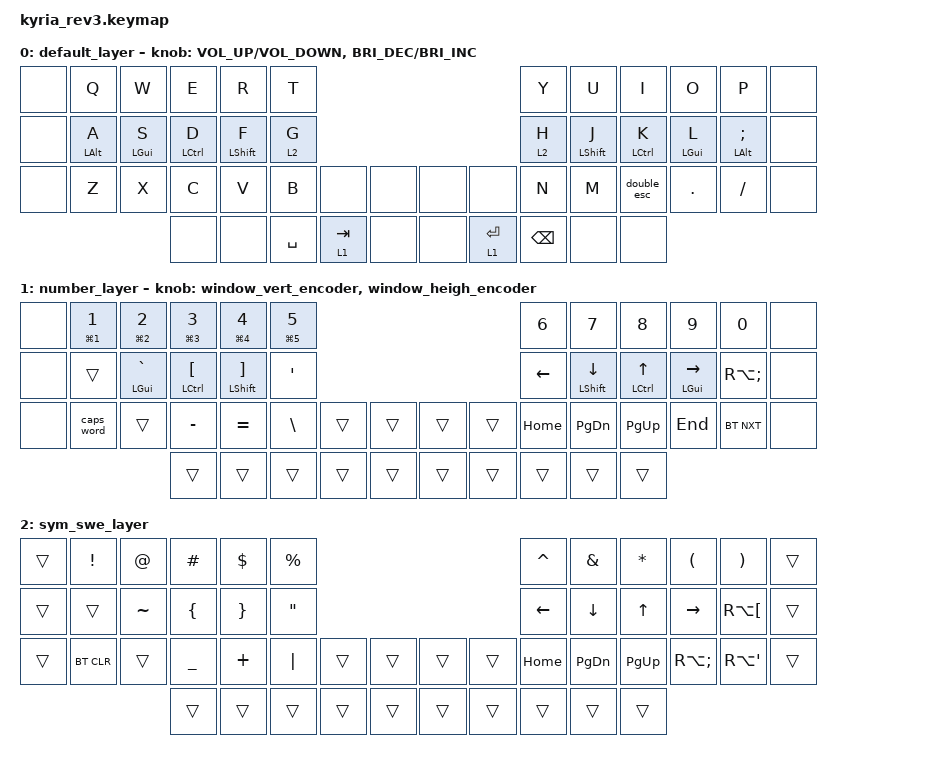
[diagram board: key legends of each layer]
/*
 * Copyright (c) 2023 The ZMK Contributors
 *
 * SPDX-License-Identifier: MIT
 */

#include <behaviors.dtsi>
#include <dt-bindings/zmk/bt.h>
#include <dt-bindings/zmk/keys.h>

/* Uncomment this block if using RGB
&led_strip {
    chain-length = <6>;
    // chain-length = <31>; // Uncomment if using both per-key and underglow LEDs
    // chain-length = <25>; // Uncomment if using only per-key LEDs.
};
 */

&mt {
    flavor = "balanced";
    quick-tap-ms = <200>;
};

/ {
    macros {
        quick_up: quick_up {
            compatible = "zmk,behavior-macro";
            #binding-cells = <0>;
            bindings = <&kp UP_ARROW &kp UP_ARROW &kp UP_ARROW>;
            label = "QUICK_UP";
        };

        quick_down: quick_down {
            compatible = "zmk,behavior-macro";
            #binding-cells = <0>;
            bindings = <&kp DOWN_ARROW &kp DOWN_ARROW &kp DOWN>;
            label = "QUICK_DOWN";
        };

        window_horizontal_small: window_horizontal_small {
            compatible = "zmk,behavior-macro";
            #binding-cells = <0>;
            bindings = <&kp LC(W) &kp PLUS>;
            label = "WINDOW_HORIZONTAL_SMALL";
        };

        window_horizontal_big: window_horizontal_big {
            compatible = "zmk,behavior-macro";
            #binding-cells = <0>;
            bindings = <&kp LC(W) &kp MINUS>;
            label = "WINDOW_HORIZONTAL_BIG";
        };

        window_vert_small: window_vert_small {
            compatible = "zmk,behavior-macro";
            #binding-cells = <0>;
            bindings = <&kp LC(W) &kp LESS_THAN>;
            label = "WINDOW_VERT_SMALL";
        };

        window_vert_big: window_vert_big {
            compatible = "zmk,behavior-macro";
            #binding-cells = <0>;
            bindings = <&kp LC(W) &kp GREATER_THAN>;
            label = "WINDOW_VERT_BIG";
        };
    };

    behaviors {
        slow_mt: slow_mt {
            compatible = "zmk,behavior-hold-tap";
            label = "SLOW_MT";
            bindings = <&kp>, <&kp>;

            #binding-cells = <2>;
            tapping-term-ms = <400>;
            flavor = "tap-preferred";
            quick-tap-ms = <200>;
        };

        window_heigh_encoder: window_heigh_encoder {
            compatible = "zmk,behavior-sensor-rotate";
            label = "WINDOW_HEIGH_ENCODER";
            #sensor-binding-cells = <0>;
            bindings = <&window_horizontal_big>, <&window_horizontal_small>;
        };

        window_vert_encoder: window_vert_encoder {
            compatible = "zmk,behavior-sensor-rotate";
            label = "WINDOW_VERT_ENCODER";
            #sensor-binding-cells = <0>;
            bindings = <&window_vert_big>, <&window_vert_small>;
        };

        double_esc: double_esc {
            compatible = "zmk,behavior-tap-dance";
            label = "DOUBLE_ESC";
            #binding-cells = <0>;
            bindings = <&kp COMMA>, <&kp ESCAPE>;
        };
    };

    combos {
        compatible = "zmk,combos";

        esc1 {
            bindings = <&kp ESCAPE>;
            key-positions = <43 42>;
        };

        esc2 {
            bindings = <&kp ESCAPE>;
            key-positions = <46 47>;
        };
    };

    keymap {
        compatible = "zmk,keymap";

        default_layer {
            // ---------------------------------------------------------------------------------------------------------------------------------
            // |  ESC  |  Q  |  W  |  E   |  R   |  T   |                                          |  Y   |  U    |  I    |  O   |   P   |   \  |
            // |  TAB  |  A  |  S  |  D   |  F   |  G   |                                          |  H   |  J    |  K    |  L   |   ;   |   '  |
            // | SHIFT |  Z  |  X  |  C   |  V   |  B   | L SHIFT | L SHIFT |  | LAYER 1 | L SHIFT |  N   |  M    |  ,    |  .   |   /   | CTRL |
            //                     | GUI  | DEL  | RET  |  SPACE  |   ESC   |  |   RET   |  SPACE  | TAB  | BSPC  | R-ALT |

            bindings = <
&none  &kp Q                &kp W           &kp E        &kp R             &kp T                                            &kp Y          &kp U             &kp I        &kp O           &kp P                        &none
&none  &slow_mt LEFT_ALT A  &mt LEFT_GUI S  &mt LCTRL D  &mt LEFT_SHIFT F  &lt 2 G                                          &lt 2 H        &mt LEFT_SHIFT J  &mt LCTRL K  &mt LEFT_GUI L  &slow_mt LEFT_ALT SEMICOLON  &none
&none  &kp Z                &kp X           &kp C        &kp V             &kp B      &none      &none  &none  &none        &kp N          &kp M             &double_esc  &kp DOT         &kp FSLH                     &none
                                            &none        &none             &kp SPACE  &lt 1 TAB  &none  &none  &lt 1 ENTER  &kp BACKSPACE  &none             &none
            >;

            sensor-bindings =
                <&inc_dec_kp C_VOLUME_UP C_VOLUME_DOWN>,
                <&inc_dec_kp C_BRI_DEC C_BRI_INC>;
        };

        number_layer {
            // ---------------------------------------------------------------------------------------------------------------------------------
            // |       |      |BT_CLR|BTSEL0|BTSEL1|BTSEL2|                                         |      |      |      |      |      |      |
            // |       |      |      |BTSEL3|BTSEL4|      |                                         |      |      |      |      |      |      |
            // |       |      |      |      |      |      |      |      |      |      |      |      |      |      |      |      |      |      |
            //                       |      |      |      |      |      |      |      |      |      |      |      |      |

            bindings = <
&none  &mt LG(N1) N1  &mt LG(NUMBER_2) NUMBER_2  &mt LG(NUMBER_3) NUMBER_3  &mt LG(NUMBER_4) NUMBER_4     &mt LG(N5) N5                                  &kp NUMBER_6    &kp N7               &kp N8        &kp N9              &kp N0             &none
&none  &trans         &slow_mt LEFT_GUI GRAVE    &mt LCTRL LEFT_BRACKET     &mt LEFT_SHIFT RIGHT_BRACKET  &kp SQT                                        &kp LEFT_ARROW  &mt LEFT_SHIFT DOWN  &mt LCTRL UP  &mt LEFT_GUI RIGHT  &kp RA(SEMICOLON)  &none
&none  &caps_word     &trans                     &kp MINUS                  &kp EQUAL                     &kp BACKSLASH  &trans  &trans  &trans  &trans  &kp HOME        &kp PAGE_DOWN        &kp PG_UP     &kp END             &bt BT_NXT         &none
                                                 &trans                     &trans                        &trans         &trans  &trans  &trans  &trans  &trans          &trans               &trans
            >;

            sensor-bindings = <&window_vert_encoder>, <&window_heigh_encoder>;
        };

        sym_swe_layer {
            bindings = <
&trans  &kp EXCLAMATION  &kp AT_SIGN  &kp HASH        &kp DOLLAR       &kp PERCENT                                        &kp CARET  &kp AMPERSAND  &kp ASTERISK  &kp LEFT_PARENTHESIS  &kp RIGHT_PARENTHESIS  &trans
&trans  &trans           &kp TILDE    &kp LEFT_BRACE  &kp RIGHT_BRACE  &kp DOUBLE_QUOTES                                  &kp LEFT   &kp DOWN       &kp UP_ARROW  &kp RIGHT             &kp RA(LEFT_BRACKET)   &trans
&trans  &bt BT_CLR       &trans       &kp UNDERSCORE  &kp PLUS         &kp PIPE           &trans  &trans  &trans  &trans  &kp HOME   &kp PAGE_DOWN  &kp PAGE_UP   &kp RA(SEMICOLON)     &kp RA(SQT)            &trans
                                      &trans          &trans           &trans             &trans  &trans  &trans  &trans  &trans     &trans         &trans
            >;
        };
    };
};
